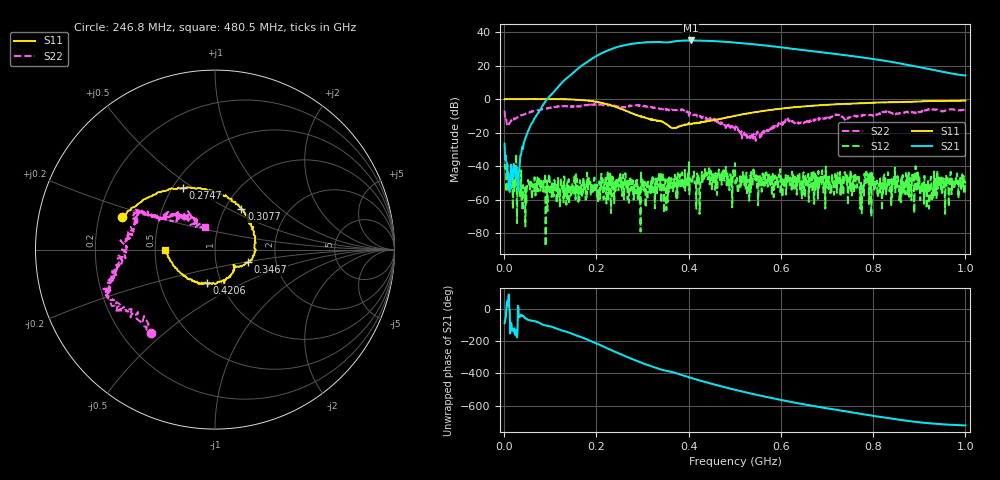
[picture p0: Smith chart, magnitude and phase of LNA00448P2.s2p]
! Created with skrf 1.9.0 (http://scikit-rf.org).
# Hz S RI R 50.0
!freq ReS11 ImS11 ReS21 ImS21 ReS12 ImS12 ReS22 ImS22
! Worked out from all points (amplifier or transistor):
!   1001 points, 1 MHz to 1 GHz, reference 50 ohm
!   highest |S21| = 34.9 dB at 404.6 MHz (marker M1)
!   |S21| within 3 dB of that: 257.7 MHz to 566 MHz (308.3 MHz wide, 74.8 % of centre)
!   unconditionally stable (mu >= 1): 6.566 MHz to 32.33 MHz; 225 MHz to 400.5 MHz; 400.7 MHz to end of sweep (the widest 3 of 42)
!   at 166.8 MHz: K = 1.94, MAG = 30.9 dB, |S12| = -53.3 dB
!   at 500.5 MHz: K = 1.02, MAG = 35.1 dB, |S12| = -38.2 dB
!   at 1 GHz: K = 4.80, MAG = 22.5 dB, |S12| = -50.5 dB
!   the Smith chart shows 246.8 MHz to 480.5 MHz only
!   S11 on the Smith chart (normalised r, x): 246.8 MHz: 0.30, +0.15; 274.7 MHz: 0.56, +0.46; 307.7 MHz: 1.19, +0.58; 346.7 MHz: 1.43, -0.21; 420.6 MHz: 0.85, -0.33; 480.5 MHz: 0.56, -0.00
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1000000  0.9795 -0.000981  -0.000468 -0.0464  -0.00936 0.00671  0.3023 0.3378
1.08892e8  0.5263 -0.8444  -0.8018 -1.518  -0.00325 0.0021  0.4192 -0.3818
1.67833e8  -0.2238 -0.9061  -9.812 -0.5523  -0.000688 0.00266  0.0414 -0.6391
2.11789e8  -0.6744 -0.3676  -15.25 17.75  -0.00266 -0.000926  -0.2057 -0.6431
2.46754e8  -0.5166 0.1804  2.634 36.09  -0.00226 -0.000121  -0.355 -0.4656
2.74726e8  -0.1787 0.3435  27.12 34.48  -0.0014 -0.00122  -0.5207 -0.3108
3.07693e8  0.1471 0.2258  47.36 13.43  0.00165 -0.000191  -0.559 -0.1765
3.34666e8  0.2191 0.00852  49.14 -9.64  0.0028 0.000688  -0.5423 -0.0506
3.46654e8  0.1847 -0.0705  45.96 -17.49  -0.000339 0.000196  -0.4912 0.0135
3.75625e8  0.1049 -0.0953  40.62 -35.43  -0.000764 0.000868  -0.4372 0.1749
4.04596e8  0.0361 -0.1773  21.67 -51.5  -0.00103 0.00369  -0.3311 0.2029
4.2058e8  -0.0461 -0.1856  9.018 -54.74  0.0041 -0.000339  -0.2582 0.1815
4.49551e8  -0.1804 -0.1408  -12.52 -52.16  0.0033 0.00286  -0.1661 0.1768
4.8052e8  -0.2783 -0.00278  -30.17 -41.09  0.00952 -0.000902  -0.0564 0.1236
5.005e8  -0.3006 0.1097  -37.67 -30.53  0.0117 0.00367  -0.0774 0.0913
5.39461e8  -0.2411 0.3129  -42.08 -9.732  0.00366 -0.00283  -0.0588 0.0101
5.85415e8  -0.0649 0.4857  -35.72 9.901  0.00124 -0.00117  -0.1302 -0.0505
6.25375e8  0.1228 0.5504  -24.86 19.23  0.00208 -0.000375  -0.1974 -0.1002
6.67333e8  0.3249 0.5403  -13.56 23.02  -0.0028 -0.00473  -0.2285 -0.0458
7.53247e8  0.6269 0.3735  3.412 18.83  -0.00328 -0.000417  -0.278 0.00882
8.34166e8  0.784 0.1446  9.528 9.161  -0.00261 -0.00276  -0.4027 0.0342
1e9  0.8141 -0.3844  5.037 -0.0702  -0.00297 -0.000387  -0.2845 0.3885
